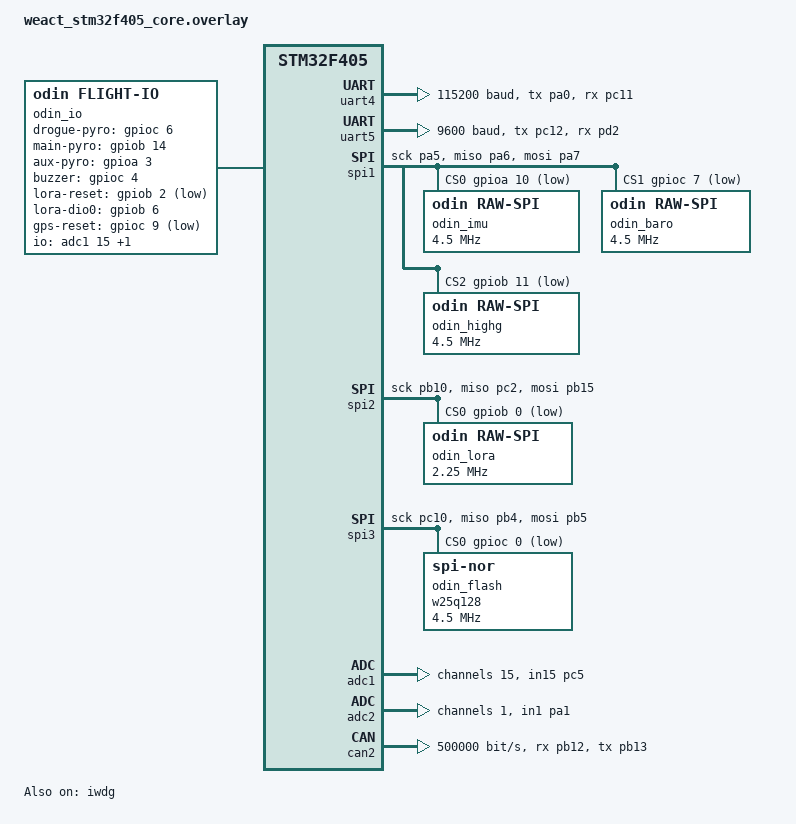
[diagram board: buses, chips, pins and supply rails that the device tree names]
/*
 * ODIN is a custom STM32F405RG board.  The upstream WeAct target is used only
 * for its matching STM32F405RG SoC definition; this overlay replaces its IO.
 */

#include <zephyr/dt-bindings/adc/adc.h>
#include <zephyr/dt-bindings/gpio/gpio.h>

/ {
	chosen {
		zephyr,console = &uart4;
		zephyr,shell-uart = &uart4;
		zephyr,canbus = &can2;
	};

	odin_io: odin-io {
		compatible = "odin,flight-io";
		drogue-pyro-gpios = <&gpioc 6 GPIO_ACTIVE_HIGH>;
		main-pyro-gpios = <&gpiob 14 GPIO_ACTIVE_HIGH>;
		aux-pyro-gpios = <&gpioa 3 GPIO_ACTIVE_HIGH>;
		buzzer-gpios = <&gpioc 4 GPIO_ACTIVE_HIGH>;
		lora-reset-gpios = <&gpiob 2 GPIO_ACTIVE_LOW>;
		lora-dio0-gpios = <&gpiob 6 GPIO_ACTIVE_HIGH>;
		gps-reset-gpios = <&gpioc 9 GPIO_ACTIVE_LOW>;
		io-channels = <&adc1 15>, <&adc2 1>;
		io-channel-names = "drogue-continuity", "main-continuity";
	};
};

/* Match the existing Cube clock tree: 8 MHz HSE -> 72 MHz SYSCLK. */
&pll {
	div-m = <4>;
	mul-n = <72>;
	div-p = <2>;
	div-q = <3>;
};

&rcc {
	clock-frequency = <72000000>;
	ahb-prescaler = <1>;
	apb1-prescaler = <2>;
	apb2-prescaler = <1>;
};

/* Disable peripherals enabled by the carrier-board definition. */
&usart1 { status = "disabled"; };
&usart2 { status = "disabled"; };
&i2c1 { status = "disabled"; };
&can1 { status = "disabled"; };
&sdmmc1 { status = "disabled"; };
&usbotg_fs { status = "disabled"; };

&uart4 {
	pinctrl-0 = <&uart4_tx_pa0 &uart4_rx_pc11>;
	pinctrl-names = "default";
	current-speed = <115200>;
	status = "okay";
};

&uart5 {
	pinctrl-0 = <&uart5_tx_pc12 &uart5_rx_pd2>;
	pinctrl-names = "default";
	current-speed = <9600>;
	status = "okay";
};

&spi1 {
	pinctrl-0 = <&spi1_sck_pa5 &spi1_miso_pa6 &spi1_mosi_pa7>;
	pinctrl-names = "default";
	cs-gpios = <&gpioa 10 GPIO_ACTIVE_LOW>,
		     <&gpioc 7 GPIO_ACTIVE_LOW>,
		     <&gpiob 11 GPIO_ACTIVE_LOW>;
	status = "okay";

	odin_imu: imu@0 {
		compatible = "odin,raw-spi";
		reg = <0>;
		spi-max-frequency = <4500000>;
		spi-cpol;
		spi-cpha;
	};

	odin_baro: barometer@1 {
		compatible = "odin,raw-spi";
		reg = <1>;
		spi-max-frequency = <4500000>;
		spi-cpol;
		spi-cpha;
	};

	odin_highg: highg@2 {
		compatible = "odin,raw-spi";
		reg = <2>;
		spi-max-frequency = <4500000>;
		spi-cpol;
		spi-cpha;
	};
};

&spi2 {
	pinctrl-0 = <&spi2_sck_pb10 &spi2_miso_pc2 &spi2_mosi_pb15>;
	pinctrl-names = "default";
	cs-gpios = <&gpiob 0 GPIO_ACTIVE_LOW>;
	status = "okay";

	odin_lora: radio@0 {
		compatible = "odin,raw-spi";
		reg = <0>;
		spi-max-frequency = <2250000>;
	};
};

&spi3 {
	pinctrl-0 = <&spi3_sck_pc10 &spi3_miso_pb4 &spi3_mosi_pb5>;
	pinctrl-names = "default";
	cs-gpios = <&gpioc 0 GPIO_ACTIVE_LOW>;
	status = "okay";

	odin_flash: w25q128@0 {
		compatible = "jedec,spi-nor";
		reg = <0>;
		spi-max-frequency = <4500000>;
		jedec-id = [ef 40 18];
		size = <0x08000000>;
	};
};

&adc1 {
	pinctrl-0 = <&adc1_in15_pc5>;
	pinctrl-names = "default";
	status = "okay";

	#address-cells = <1>;
	#size-cells = <0>;
	channel@15 {
		reg = <15>;
		zephyr,gain = "ADC_GAIN_1";
		zephyr,reference = "ADC_REF_INTERNAL";
		zephyr,acquisition-time = <ADC_ACQ_TIME_DEFAULT>;
		zephyr,resolution = <12>;
	};
};

&adc2 {
	pinctrl-0 = <&adc2_in1_pa1>;
	pinctrl-names = "default";
	status = "okay";

	#address-cells = <1>;
	#size-cells = <0>;
	channel@1 {
		reg = <1>;
		zephyr,gain = "ADC_GAIN_1";
		zephyr,reference = "ADC_REF_INTERNAL";
		zephyr,acquisition-time = <ADC_ACQ_TIME_DEFAULT>;
		zephyr,resolution = <12>;
	};
};

&can2 {
	pinctrl-0 = <&can2_rx_pb12 &can2_tx_pb13>;
	pinctrl-names = "default";
	bitrate = <500000>;
	sample-point = <833>;
	status = "okay";
};

&clk_lsi { status = "okay"; };
&iwdg { status = "okay"; };
